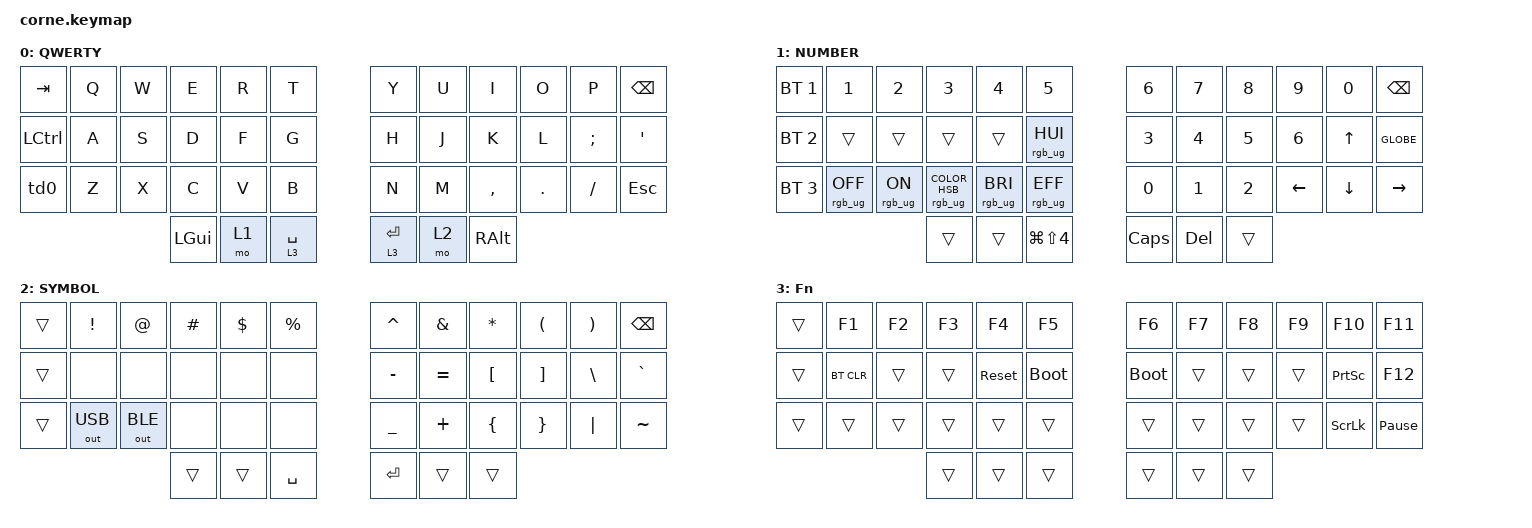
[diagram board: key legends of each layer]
/*
 * Copyright (c) 2020 The ZMK Contributors
 *
 * SPDX-License-Identifier: MIT
 */

#include <behaviors.dtsi>
#include <dt-bindings/zmk/bt.h>
#include <dt-bindings/zmk/keys.h>
#include <dt-bindings/zmk/outputs.h>
#include <dt-bindings/zmk/rgb.h>

/ {
    chosen {
        zmk,matrix_transform = &default_transform;

        // zmk,matrix_transform = &five_column_transform;
    };
};

/ {
    behaviors {
        td0: td0 {
            compatible = "zmk,behavior-tap-dance";
            label = "TD0";
            #binding-cells = <0>;
            bindings = <&kp LEFT_SHIFT>, <&kp CAPS>;
        };
    };

    keymap {
        compatible = "zmk,keymap";

        default_layer {
            display-name = "QWERTY";

            // --------------------------------------------------------------------------------
            // |  TAB |  Q  |  W  |  E  |  R  |  T  |   |  Y  |  U   |  I  |  O  |  P  | BKSP |
            // | CTRL |  A  |  S  |  D  |  F  |  G  |   |  H  |  J   |  K  |  L  |  ;  |  '   | 
            // | SHFT |  Z  |  X  |  C  |  V  |  B  |   |  N  |  M   |  ,  |  .  |  /  | ESC  |
            //                    | GUI | LWR | SPC |   | ENT | RSE  | ALT |

            bindings = <
&kp TAB    &kp Q  &kp W  &kp E     &kp R  &kp T          &kp Y        &kp U  &kp I      &kp O    &kp P     &kp BSPC
&kp LCTRL  &kp A  &kp S  &kp D     &kp F  &kp G          &kp H        &kp J  &kp K      &kp L    &kp SEMI  &kp SQT
&td0       &kp Z  &kp X  &kp C     &kp V  &kp B          &kp N        &kp M  &kp COMMA  &kp DOT  &kp FSLH  &kp ESC
                         &kp LGUI  &mo 1  &lt 3 SPACE    &lt 3 ENTER  &mo 2  &kp RALT
            >;
        };

        lower_layer {
            display-name = "NUMBER";

            // -----------------------------------------------------------------------------------------
            // |  TAB |  1  |  2  |  3  |  4  |  5  |   |  6  |  7  |  8  |  9  |  0  | BKSP |
            // | BTCLR| BT1 | BT2 | BT3 | BT4 | BT5 |   | LFT | DWN |  UP | RGT |     |      |
            // | SHFT |     |     |     |     |     |   |     |     |     |     |     |      |
            //                    | GUI |     | SPC |   | ENT |     | ALT |

            bindings = <
&bt BT_SEL 1  &kp N1           &kp N2          &kp N3                             &kp N4           &kp N5                  &kp N6        &kp N7        &kp N8        &kp N9          &kp N0          &kp BSPC
&bt BT_SEL 2  &trans           &trans          &trans                             &trans           &rgb_ug RGB_HUI         &kp NUMBER_3  &kp NUMBER_4  &kp N5        &kp NUMBER_6    &kp UP_ARROW    &kp GLOBE
&bt BT_SEL 3  &rgb_ug RGB_OFF  &rgb_ug RGB_ON  &rgb_ug RGB_COLOR_HSB(311,100,82)  &rgb_ug RGB_BRI  &rgb_ug RGB_EFF         &kp N0        &kp NUMBER_1  &kp NUMBER_2  &kp LEFT_ARROW  &kp DOWN_ARROW  &kp RIGHT_ARROW
                                               &trans                             &trans           &kp LG(LS(NUMBER_4))    &kp CAPSLOCK  &kp DEL       &trans
            >;
        };

        raise_layer {
            display-name = "SYMBOL";

            // -----------------------------------------------------------------------------------------
            // |  TAB |  !  |  @  |  #  |  $  |  %  |   |  ^  |  &  |  *  |  (  |  )  | BKSP |
            // | CTRL |     |     |     |     |     |   |  -  |  =  |  [  |  ]  |  \  |  `   |
            // | SHFT |     |     |     |     |     |   |  _  |  +  |  {  |  }  | "|" |  ~   |
            //                    | GUI |     | SPC |   | ENT |     | ALT |

            bindings = <
&trans  &kp EXCL      &kp AT        &kp HASH  &kp DLLR  &kp PRCNT    &kp CARET  &kp AMPS   &kp ASTRK  &kp LPAR  &kp RPAR  &kp BSPC
&trans  &none         &none         &none     &none     &none        &kp MINUS  &kp EQUAL  &kp LBKT   &kp RBKT  &kp BSLH  &kp GRAVE
&trans  &out OUT_USB  &out OUT_BLE  &none     &none     &none        &kp UNDER  &kp PLUS   &kp LBRC   &kp RBRC  &kp PIPE  &kp TILDE
                                    &trans    &trans    &kp SPACE    &kp RET    &trans     &trans
            >;
        };

        layer_3 {
            display-name = "Fn";
            bindings = <
&trans  &kp F1      &kp F2  &kp F3  &kp F4      &kp F5         &kp F6       &kp F7  &kp F8  &kp F9  &kp F10          &kp F11
&trans  &bt BT_CLR  &trans  &trans  &sys_reset  &bootloader    &bootloader  &trans  &trans  &trans  &kp PRINTSCREEN  &kp F12
&trans  &trans      &trans  &trans  &trans      &trans         &trans       &trans  &trans  &trans  &kp SCROLLLOCK   &kp PAUSE_BREAK
                            &trans  &trans      &trans         &trans       &trans  &trans
            >;
        };
    };
};
